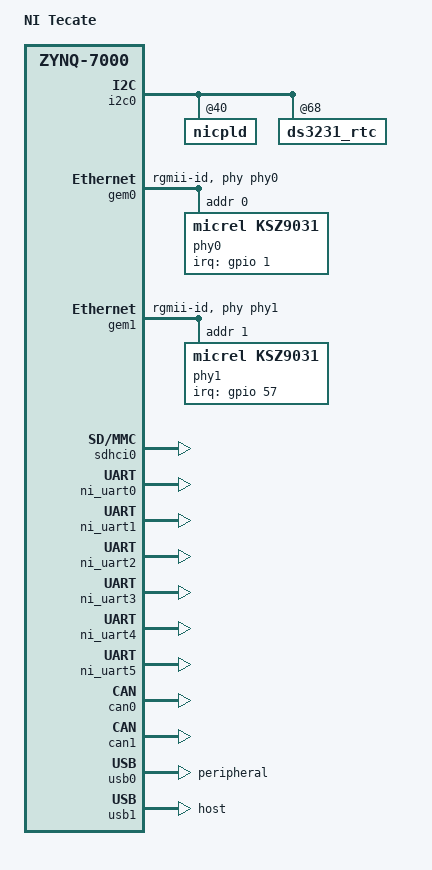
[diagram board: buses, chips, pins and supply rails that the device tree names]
/dts-v1/;
/include/ "ni-zynq.dtsi"

/* NIDEVCODE 775E */

/ {
	model = "NI Tecate";
	compatible = "ni,zynq", "xlnx,zynq-7000";

	amba@0 {
		i2c0: i2c@e0004000 {
			nicpld@40 {
				watchdogs {
					boot-watchdog {
						interrupt-parent = <&gpio>;
						interrupts = <15 2 /* IRQ_TYPE_EDGE_FALLING */>;
					};
				};

				leds {
					status-0 {
						label = "nilrt:status:yellow";
						max-brightness = <0xFFFF>;
					};
					eth0-0 {
						label = "nilrt:eth0:green";
						linux,default-trigger =
						  "e000b000.etherne:00:100Mb";
					};
					eth0-1 {
						label = "nilrt:eth0:yellow";
						linux,default-trigger =
						  "e000b000.etherne:00:Gb";
					};
				};
			};

			ds3231_rtc@68 {
				status = "okay";
			};
		};
	};
};

&gem0 {
	status = "okay";

	/* No fpga_clk specified because we want our FPGA clock
	 * (fclk0) to always be 125 MHz. The bootloader sets
	 * fclk0 to 125 MHz and we just leave it like that. */

	phy-handle = <&phy0>;
	phy-mode = "rgmii-id";
	#address-cells = <0x1>;
	#size-cells = <0x0>;

	emio-speed-gpios = <0>,
			   <&gpio 54 0>;

	phy0: phy@0 {
		compatible = "micrel,KSZ9031";
		device_type = "ethernet-phy";
		reg = <0x0>;
		/* Interrupt on GPIO1. */
		interrupts = <1 8 /* IRQ_TYPE_LEVEL_LOW */>;
		interrupt-parent = <&gpio>;

		/* Set RX_CLK Pad Skew [4:0] to 0b00000. */
		rxc-skew-ps = <0>;
	};
};

&gem1 {
	status = "okay";

	/* No fpga_clk specified because we want our FPGA clock (fclk0) to
	 * always be 125 MHz. The bootloader sets fclk0 to 125 MHz and we just
	 * leave it like that. */

	phy-handle = <&phy1>;
	phy-mode = "rgmii-id";
	#address-cells = <0x1>;
	#size-cells = <0x0>;

	emio-speed-gpios = <&gpio 56 0>,
			   <&gpio 55 0>;

	phy1: phy@1 {
		compatible = "micrel,KSZ9031";
		device_type = "ethernet-phy";
		reg = <0x1>;
		/* Interrupt on GPIO57. */
		interrupts = <57 8 /* IRQ_TYPE_LEVEL_LOW */>;
		interrupt-parent = <&gpio>;
	};
};

&sdhci0 {
	status = "okay";
};

&ni_uart0 {
	status = "okay";
	transceiver = "RS-232";
};

&ni_uart1 {
	status = "okay";
	transceiver = "RS-232";
};

&ni_uart2 {
	status = "okay";
	transceiver = "RS-232";
};

&ni_uart3 {
	status = "okay";
	transceiver = "RS-232";
};

&ni_uart4 {
	status = "okay";
	transceiver = "RS-485";
};

&ni_uart5 {
	status = "okay";
	transceiver = "RS-485";
};

&can0 {
	status = "okay";
};

&can1 {
	status = "okay";
};

&usb0 {
	status = "okay";
	dr_mode = "peripheral";
};

&usb1 {
	status = "okay";
	dr_mode = "host";
};

&clkc {
	/* Enable fclk0 for eth0 and eth1, fclk1 for serial. */
	fclk-enable = <0x3>;
};
